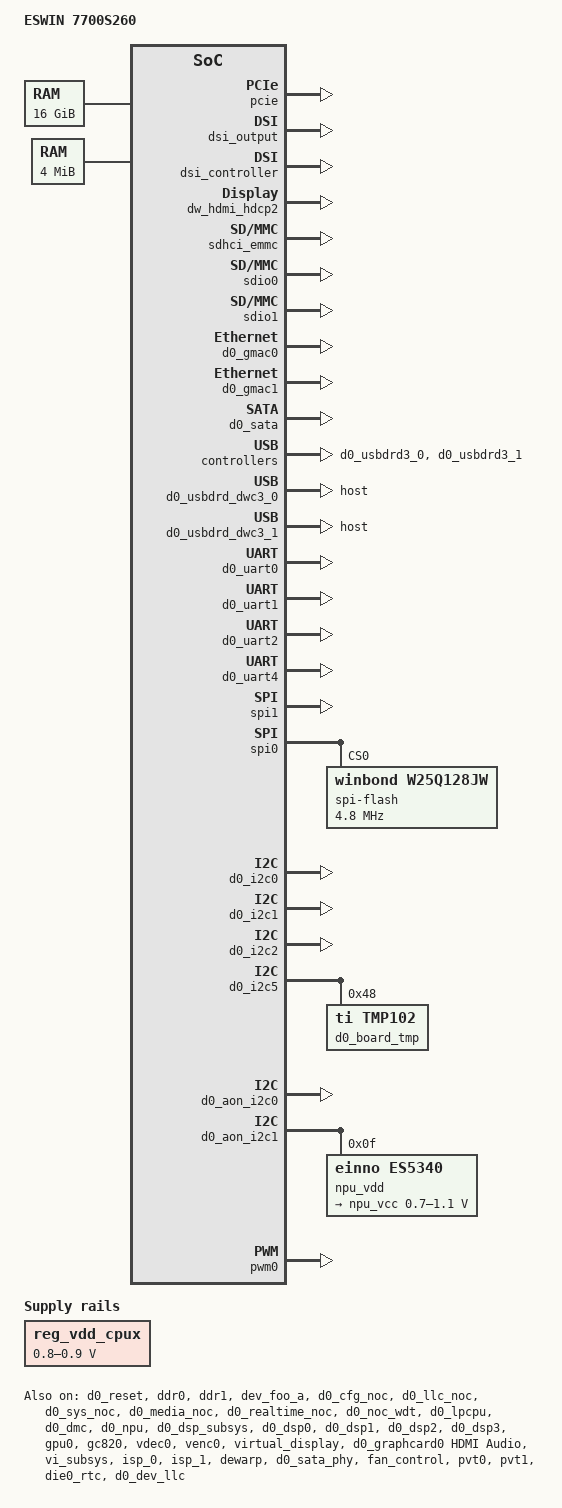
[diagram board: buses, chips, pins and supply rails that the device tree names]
// SPDX-License-Identifier: GPL-2.0
/*
 * Device Tree file for Eswin EIC7700 SoC.
 *
 * Copyright 2024, Beijing ESWIN Computing Technology Co., Ltd.. All rights reserved.
 * SPDX-License-Identifier: GPL-2.0
 *
 * This program is free software: you can redistribute it and/or modify
 * it under the terms of the GNU General Public License as published by
 * the Free Software Foundation, version 2.
 *
 * This program is distributed in the hope that it will be useful,
 * but WITHOUT ANY WARRANTY; without even the implied warranty of
 * MERCHANTABILITY or FITNESS FOR A PARTICULAR PURPOSE.  See the
 * GNU General Public License for more details.
 *
 * You should have received a copy of the GNU General Public License
 * along with this program.  If not, see <https://www.gnu.org/licenses/>.
 */

/dts-v1/;

#define RTCCLK_FREQ		1000000
#define LSPCLK_FREQ		200000000

/* If wanna enable ECC capability of DDR, should reserve highest zone of 1/8 all space for it */
#define MEMORY_SIZE_H		0x4
#define MEMORY_SIZE_L		0x0
#define CMA_SIZE		0x20000000

#include "eswin-win2030-die0-soc.dtsi"
#include "eic7700-pinctrl.dtsi"
#include <dt-bindings/interrupt-controller/irq.h>
#include <dt-bindings/gpio/gpio.h>
#include <dt-bindings/input/input.h>

/* Clock frequency (in Hz) of the PCB crystal for rtcclk */

/ {
	#address-cells = <2>;
	#size-cells = <2>;
	model = "ESWIN 7700S260";

	aliases {
		serial0 = &d0_uart0;
		ethernet0 = &d0_gmac0;
		ethernet1 = &d0_gmac1;
	};

	chosen {
		stdout-path = "serial0:115200n8";
		opensbi_domain_config: domain-config {
			compatible = "opensbi,domain,config";
			system-suspend-test;
		};
	};

	cpus {
		timebase-frequency = <RTCCLK_FREQ>;
	};

	memory@80000000 {
		device_type = "memory";
		reg = <0x0 0x80000000 MEMORY_SIZE_H MEMORY_SIZE_L>;
		numa-node-id = <0>;
	};

	memory@59000000 {
		device_type = "memory";
		reg = <0x0 0x59000000 0x0 0x400000>;
		numa-node-id = <0>;
	};

	reserved-memory {
		#address-cells = <2>;
		#size-cells = <2>;
		ranges;

		linux,cma {
			compatible = "shared-dma-pool";
			reusable;
			size = <0x0 CMA_SIZE>;
			alignment = <0x0 0x1000>;
			alloc-ranges = <0x0 0x80000000 MEMORY_SIZE_H MEMORY_SIZE_L>;
			linux,cma-default;
		};

		npu0_reserved: sprammemory@59000000 {
			no-map;
			reg = <0x0 0x59000000 0x0 0x400000>;
		};

		ramoops@fff00000 {
			compatible = "ramoops";
			reg = <0x0 0xfff00000 0x0 0x100000>;
			console-size = <0x40000>;
			record-size = <0x40000>;
			ftrace-size = <0x40000>;
			pmsg-size = <0x40000>;
			no-map;
		};

		g2d_8GB_boundary_reserved_4k {
			no-map;
			reg = <0x1 0xfffff000 0x0 0x1000>;
		};

		g2d_12GB_boundary_reserved_4k {
			no-map;
			reg = <0x2 0xfffff000 0x0 0x1000>;
		};

		mmz_nid_0_part_0 {
			compatible = "eswin-reserve-memory";
			reg = <0x3 0x0 0x1 0x80000000>;
			no-map;
		};
	};

	reg_vdd_cpux: vdd-cpux-regulator {
		compatible = "regulator-gpio";
		regulator-name = "vdd-cpux";
		regulator-type = "voltage";
		regulator-boot-on;
		regulator-always-on;
		regulator-min-microvolt = <800000>;
		regulator-max-microvolt = <900000>;

		pinctrl-names = "default";
		pinctrl-0 = <&pinctrl_gpio94_default>;
		gpios = <&portc 30 GPIO_ACTIVE_HIGH>;
		enable-active-high;
		gpios-states = <0>;
		states = <800000 0>, <900000 1>;
	};
};

&cpu_0 {
	cpu-supply = <&reg_vdd_cpux>;
};

&cpu_1 {
	cpu-supply = <&reg_vdd_cpux>;
};

&cpu_2 {
	cpu-supply = <&reg_vdd_cpux>;
};

&cpu_3 {
	cpu-supply = <&reg_vdd_cpux>;
};

/****************************************************
	Carrier board device capability, need be adapted by user according to the carrier board implemented.
	All of below modules are configured to okay by default, and need be reconfigured by user in dts of carrier board.
		pcie
		d0_sata
		d0_usbdrd3_0
		d0_usbdrd3_1
		dw_hdmi
		mipi csi(2 lanes) x4
		mipi dsi(4 lanes)
		sdio0
		sdio1
		d0_i2c0
		d0_i2c1
		d0_i2c2
		aon_i2c0
		d0_uart0
		d0_uart1
		d0_uart2
		d0_uart4
		spi1
		spi2
		pwm1
		pwm2
		gpio
		d0_gmac0
		d0_gmac1
****************************************************/

&d0_clock {
	status = "okay";
};

&d0_reset {
	status = "okay";
};

&d0_pmu {
	status = "okay";
	npu-supply = <&npu_vcc>;
};

&ddr0 {
	status = "okay";
};

&ddr1 {
	status = "okay";
};

&smmu0 {
	status = "okay";
};

&smmu_pmu0 {
	status = "disabled";
};

&dev_foo_a {
	status = "okay";
};

&d0_cfg_noc {
	status = "okay";
};

&d0_llc_noc {
	status = "okay";
	stat,0 = "TracePort:ddr0_p0_req";
	stat,1 = "TracePort:ddr1_p0_req";
	//latency,0 = "TracePort:llcnoc_trans_probe";
	//pending,0 = "TracePort:llcnoc_trans_probe";
};

&d0_sys_noc {
	status = "okay";

	//eswin,DSPT-qos-owner;
	//eswin,NPU-qos-owner;
	//eswin,SPISLV_TBU3-qos-owner;

#if 0
	stat,0 = "TracePort:ddr0_p1_req",
		 "InitFlow:mcput_snoc_mp/I/0";

	stat,1 = "TracePort:ddr0_p2_req",
		 "InitFlow:dspt_snoc/I/0",
		 "AddrBase:0x81000000", "AddrSize:0x30",
		 "Opcode:RdWrLockUrg", "Status:ReqRsp", "Length:0x8000", "Urgency:0x0";

	stat,2 = "TracePort:ddr1_p1_req",
		 "Status:Req", "AddrSize:0x28";

	stat,3 = "TracePort:ddr1_p2_req";
#else
	stat,0 = "TracePort:ddr0_p1_req";

	stat,1 = "TracePort:ddr0_p2_req";

	stat,2 = "TracePort:ddr1_p1_req";

	stat,3 = "TracePort:ddr1_p2_req";
#endif

	latency,0 = "TracePort:sysnoc_trans_probe_0", "AddrSize:0x0";
	latency,1 = "TracePort:sysnoc_trans_probe_1","Mode:latency","AddrBase:0x82000000","AddrSize:0x28","Opcode:RdWr";
	//latency,2 = "TracePort:sysnoc_trans_probe_2";

	//pending,0 = "TracePort:sysnoc_trans_probe_0";
	//pending,1 = "TracePort:sysnoc_trans_probe_1","Mode:latency","AddrBase:0x82000000","AddrSize:0x0","Opcode:RdWr";
	pending,0 = "TracePort:sysnoc_trans_probe_2", "AddrSize:0x3";
};

&d0_media_noc {
	status = "okay";

	//eswin,GPU-qos-owner;
	//eswin,TBU2-qos-owner;
	//eswin,VC-qos-owner;

	stat,0 = "TracePort:ddr0_p3_req";
	stat,1 = "TracePort:ddr1_p3_req";
	//latency,0 = "TracePort:mnoc_trans_probe";
	//pending,0 = "TracePort:mnoc_trans_probe";
};

&d0_realtime_noc {
	status = "okay";

	//eswin,TBU0-qos-owner;
	//eswin,VO-qos-owner;

	stat,0 = "TracePort:ddr0_p4_req";
	stat,1 = "TracePort:ddr1_p4_req";
	//latency,0 = "TracePort:rnoc_trans_probe";
	//pending,0 = "TracePort:rnoc_trans_probe";
};

&d0_noc_wdt {
	status = "okay";
};

&d0_ipc_scpu {
	status = "okay";
};

&d0_lpcpu {
	status = "okay";
};
&d0_dmc {
        status = "okay";
};
&pcie {
	status = "okay";
};

&d0_npu {
	status = "okay";
	npu-supply = <&npu_vcc>;
};

&d0_dsp_subsys {
	status = "okay";
};

&d0_dsp0 {
	status = "okay";
};

&d0_dsp1 {
	status = "okay";
};

&d0_dsp2 {
	status = "okay";
};

&d0_dsp3 {
	status = "okay";
};

&gpu0 {
	status = "okay";
};

&gc820 {
	status = "okay";
};

&vdec0 {
	status = "okay";
};

&venc0 {
	status = "okay";
};


&dc_test {
	status = "disabled";
};

&virtual_display {
	status = "okay";
	port {
		vd_input: endpoint {
			remote-endpoint = <&dc_out_dpi>;
		};
	};
};

&dsi_output {
	status = "okay";
};

&dsi_controller {
	status = "okay";
};

&dw_hdmi_hdcp2 {
    status = "okay";
};

&d0_graphcard0 {
	status = "okay";
	label = "HDMI Audio";
	dais = <&d0_i2s0_port>;
};

&vi_subsys {
	status = "okay";
};

&isp_0 {
	status = "okay";
};

&isp_1 {
	status = "okay";
};

&dewarp {
	status = "okay";
};

&sdhci_emmc {
	/* emmc */
	status = "okay";
	delay_code = <0x17>;
	drive-impedance-ohm = <50>;
	enable-cmd-pullup;
	enable-data-pullup;
	pinctrl-names = "default";
	pinctrl-0 = <&pinctrl_emmc_led_control_default>;
	no-sdio;
	no-sd;
};

&sdio0 {
	status = "okay";
};

&sdio1 {
	status = "okay";
};

&d0_gmac0 {
	pinctrl-names = "default";
	eswin,rgmiisel = <&pinctrl 0x290 0x3>;
	eswin,led-cfgs = <0x6100 0xa40 0x420>;
	status = "okay";
};

&d0_gmac1 {
	pinctrl-names = "default";
	eswin,rgmiisel = <&pinctrl 0x294 0x3>;
	eswin,led-cfgs = <0x6100 0xa40 0x420>;
	status = "okay";
};

&d0_sata {
	status = "okay";
	pinctrl-names = "default";
	pinctrl-0 = <&pinctrl_sata_act_led_default>;
};

&d0_sata_phy {
	status = "okay";
};

&d0_usbdrd3_0 {
	status = "okay";
};

&d0_usbdrd_dwc3_0 {
	status = "okay";
	dr_mode = "host";
	maximum-speed = "super-speed";
};

&d0_usbdrd3_1 {
	status = "okay";
};

&d0_usbdrd_dwc3_1 {
	status = "okay";
	dr_mode = "host";
	maximum-speed = "super-speed";
};

&d0_dmac0 {
	status = "okay";
};

&d0_aon_dmac {
	status = "okay";
};

&d0_uart0 {
	/* debug */
	status = "okay";
};

&d0_uart1 {
	status = "okay";
};

&d0_uart2 {
	status = "okay";
};

&d0_uart3 {
	/* no provide */
	status = "disabled";
};

&d0_uart4 {
	status = "okay";
};

&spi1 {
	status = "okay";
};

&spi2 {
	status = "disabled";
};

&spi0 {
	/* spi flash */
	status = "okay";
	num-cs = <1>;
	spi-flash@0 {
		compatible = "winbond,w25q128jw",
					"jedec,spi-nor";
		reg = <0>;
		#address-cells = <1>;
		#size-cells = <1>;
		spi-max-frequency = <4800000>;
		rx-sample-delay-ns = <10>;
	};
};

&d0_mbox0 {
	status = "okay";
};

&d0_mbox1 {
	status = "okay";
};

&d0_mbox2 {
	status = "okay";
};

&d0_mbox3 {
	status = "okay";
};

&d0_mbox4 {
	status = "okay";
};

&d0_mbox5 {
	status = "okay";
};

&d0_mbox6 {
	status = "okay";
};

&d0_mbox7 {
	status = "okay";
};

&fan_control {
	status = "okay";
	pwms = <&pwm0 0 100000 PWM_POLARITY_INVERTED>;
};

&d0_i2c0 {
	status = "okay";
};

&d0_i2c1 {
	status = "okay";
};

&d0_i2c2 {
	status = "okay";
};

&d0_i2c3 {
	/* no provide */
	status = "disabled";
};

&d0_i2c4 {
	/* no provide */
	status = "disabled";
};

&d0_i2c5 {
	/* tmp102 */
	status = "okay";
	tmp102@48 {
		compatible = "ti,tmp102";
		reg = <0x48>;
		label = "d0_board_tmp";
		#thermal-sensor-cells = <1>;
	};
};

&d0_i2c6 {
	/* no provide */
	status = "disabled";
};

&d0_i2c7 {
	/* no provide */
	status = "disabled";
};

&d0_i2c8 {
	/* no provide */
	status = "disabled";
};

&d0_i2c9 {
	/* no provide */
	status = "disabled";
};

&d0_aon_i2c0 {
	status = "okay";
};

&d0_aon_i2c1 {
	/* pmic es5340 */
	status = "okay";
	es5340@f {
		compatible = "einno,es5340";
		reg = <0xf>;
		eswin,regulator_default-microvolt=<1000000>;
		eswin,regulator_label = "Supply VDD", "NPU Voltage", "NPU CURRENT", "NPU Temperature";
		label = "npu_vdd";
		regulators{
			npu_vcc:npu_svcc{
				regulator-name="NPU_SVCC";
				regulator-min-microvolt=<700000>;
				regulator-max-microvolt=<1100000>;
				regulator-min-microamp=<20000000>;
				regulator-max-microamp=<40000000>;
				regulator-ov-protection-microvolt=<1100000>;
			};
		};
	};
};

&pwm0 {
	/* fan */
	status = "okay";
	pinctrl-names = "default", "sleep";
	pinctrl-0 = <&pinctrl_pwm0_default>;
	pinctrl-1 = <&pinctrl_gpio68_default>;
	pwm-gpios = <&portc 4 GPIO_ACTIVE_LOW>;
};

&pvt0 {
	status = "okay";
};

&pvt1 {
	status = "okay";
};

&wdt0 {
	status = "disabled";
};

&wdt1 {
	status = "disabled";
};

&wdt2 {
	status = "disabled";
};

&wdt3 {
	status = "disabled";
};

&die0_rtc {
	status = "okay";
};

&pinctrl {
	status = "okay";
};

&gpio0 {
	status = "okay";
};
&d0_dev_llc {
	npu-supply = <&npu_vcc>;
	status = "okay";
};
